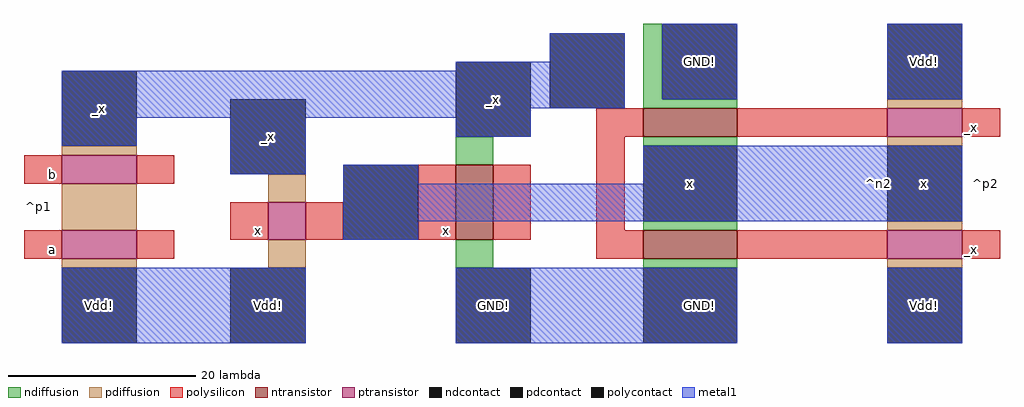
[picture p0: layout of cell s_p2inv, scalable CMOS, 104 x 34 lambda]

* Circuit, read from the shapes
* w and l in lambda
.subckt s_p2inv GND! Vdd! _x a b x
M1 _x x GND! VSUBS nfet w=4 l=8
M2 x _x GND! VSUBS nfet w=10 l=3 m=2
M3 n1 a Vdd! NWELL pfet w=8 l=3
M4 _x b n1 NWELL pfet w=8 l=3
M5 _x x Vdd! NWELL pfet w=4 l=4
M6 x _x Vdd! NWELL pfet w=8 l=3 m=2
.ends

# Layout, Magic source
magic
tech scmos
<< ndiffusion >>
rect 127 98 129 106
rect 127 97 137 98
rect 107 91 111 94
rect 127 93 137 94
rect 127 84 137 85
rect 107 80 111 83
rect 127 80 137 81
<< pdiffusion >>
rect 65 92 73 93
rect 153 97 161 98
rect 65 84 73 89
rect 87 87 91 90
rect 153 93 161 94
rect 153 84 161 85
rect 65 80 73 81
rect 87 80 91 83
rect 153 80 161 81
<< ntransistor >>
rect 127 94 137 97
rect 107 83 111 91
rect 127 81 137 84
<< ptransistor >>
rect 65 89 73 92
rect 153 94 161 97
rect 65 81 73 84
rect 87 83 91 87
rect 153 81 161 84
<< polysilicon >>
rect 61 89 65 92
rect 73 89 77 92
rect 122 94 127 97
rect 137 94 153 97
rect 161 94 165 97
rect 61 81 65 84
rect 73 81 77 84
rect 83 83 87 87
rect 91 83 95 87
rect 103 83 107 91
rect 111 83 115 91
rect 122 84 125 94
rect 122 81 127 84
rect 137 81 153 84
rect 161 81 165 84
<< ndcontact >>
rect 107 94 115 102
rect 129 98 137 106
rect 127 85 137 93
rect 107 72 115 80
rect 127 72 137 80
<< pdcontact >>
rect 65 93 73 101
rect 83 90 91 98
rect 153 98 161 106
rect 153 85 161 93
rect 65 72 73 80
rect 83 72 91 80
rect 153 72 161 80
<< polycontact >>
rect 117 97 125 105
rect 95 83 103 91
<< metal1 >>
rect 117 102 125 105
rect 107 101 125 102
rect 65 97 125 101
rect 129 98 137 106
rect 153 98 161 106
rect 65 96 115 97
rect 65 93 73 96
rect 83 90 91 96
rect 107 94 115 96
rect 95 89 103 91
rect 127 89 161 93
rect 95 85 161 89
rect 95 83 103 85
rect 65 72 91 80
rect 107 72 137 80
rect 153 72 161 80
<< labels >>
rlabel polysilicon 64 90 64 90 3 b
rlabel polysilicon 64 82 64 82 3 a
rlabel metal1 69 97 69 97 5 _x
rlabel metal1 87 94 87 94 1 _x
rlabel polysilicon 106 84 106 84 1 x
rlabel polysilicon 86 84 86 84 1 x
rlabel metal1 87 76 87 76 1 Vdd!
rlabel metal1 69 76 69 76 1 Vdd!
rlabel metal1 111 76 111 76 1 GND!
rlabel metal1 157 76 157 76 1 Vdd!
rlabel metal1 157 89 157 89 1 x
rlabel metal1 157 102 157 102 5 Vdd!
rlabel polysilicon 162 95 162 95 1 _x
rlabel polysilicon 162 82 162 82 1 _x
rlabel metal1 133 102 133 102 5 GND!
rlabel metal1 133 76 133 76 1 GND!
rlabel metal1 132 89 132 89 1 x
rlabel metal1 111 98 111 98 1 _x
rlabel space 60 72 65 101 7 ^p1
rlabel space 161 72 166 106 3 ^p2
rlabel space 137 71 167 107 3 ^n2
<< end >>
